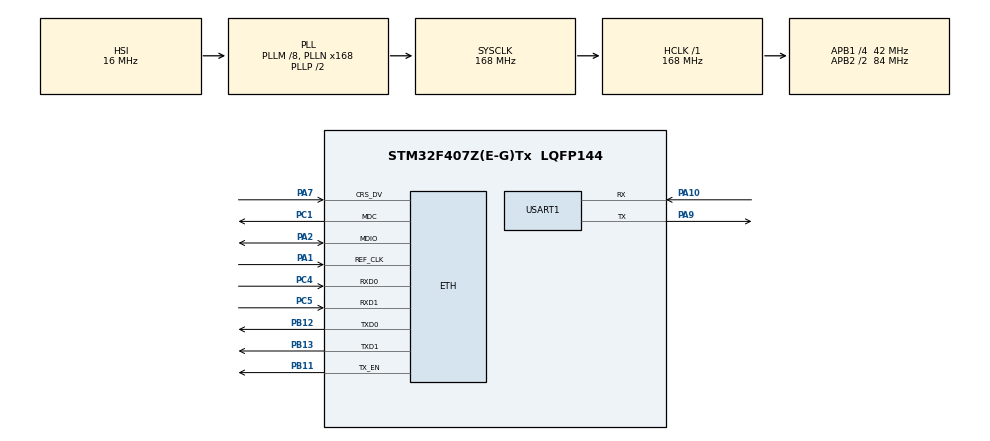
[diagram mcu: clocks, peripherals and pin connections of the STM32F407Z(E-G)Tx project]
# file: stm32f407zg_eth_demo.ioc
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ETH.MediaInterface=ETH_MEDIA_INTERFACE_RMII
ETH.PhyAddress=0
ETH.RxMode=ETH_RXPOLLING_MODE
LWIP.DHCP_DEBUG=LWIP_DBG_ON
LWIP.ETHARP_DEBUG=LWIP_DBG_ON
LWIP.LWIP_NETIF_HOSTNAME=1
LWIP.LWIP_NETIF_LINK_CALLBACK=1
LWIP.LWIP_NETIF_STATUS_CALLBACK=1
LWIP.NETIF_DEBUG=LWIP_DBG_ON
LWIP.Version=v2.0.3_Cube
Mcu.Family=STM32F4
Mcu.Name=STM32F407Z(E-G)Tx
Mcu.Package=LQFP144
NVIC.PriorityGroup=NVIC_PRIORITYGROUP_4
PA1.Mode=RMII
PA1.Signal=ETH_REF_CLK
PA10.Mode=Asynchronous
PA10.Signal=USART1_RX
PA13.Mode=Serial_Wire
PA13.Signal=SYS_JTMS-SWDIO
PA14.Mode=Serial_Wire
PA14.Signal=SYS_JTCK-SWCLK
PA2.Mode=RMII
PA2.Signal=ETH_MDIO
PA7.Mode=RMII
PA7.Signal=ETH_CRS_DV
PA9.Mode=Asynchronous
PA9.Signal=USART1_TX
PB11.Mode=RMII
PB11.Signal=ETH_TX_EN
PB12.Mode=RMII
PB12.Signal=ETH_TXD0
PB13.Mode=RMII
PB13.Signal=ETH_TXD1
PC1.Mode=RMII
PC1.Signal=ETH_MDC
PC4.Mode=RMII
PC4.Signal=ETH_RXD0
PC5.Mode=RMII
PC5.Signal=ETH_RXD1
PH0-OSC_IN.Mode=HSE-External-Oscillator
PH0-OSC_IN.Signal=RCC_OSC_IN
PH1-OSC_OUT.Mode=HSE-External-Oscillator
PH1-OSC_OUT.Signal=RCC_OSC_OUT
ProjectManager.HeapSize=0x200
ProjectManager.StackSize=0x400
ProjectManager.TargetToolchain=SW4STM32
RCC.48MHZClocksFreq_Value=84000000
RCC.AHBFreq_Value=168000000
RCC.APB1CLKDivider=RCC_HCLK_DIV4
RCC.APB1Freq_Value=42000000
RCC.APB1TimFreq_Value=84000000
RCC.APB2CLKDivider=RCC_HCLK_DIV2
RCC.APB2Freq_Value=84000000
RCC.APB2TimFreq_Value=168000000
RCC.CortexFreq_Value=168000000
RCC.HCLKFreq_Value=168000000
RCC.HSE_VALUE=25000000
RCC.HSI_VALUE=16000000
RCC.LSE_VALUE=32768
RCC.PLLM=8
RCC.PLLN=168
RCC.SYSCLKFreq_VALUE=168000000
RCC.SYSCLKSource=RCC_SYSCLKSOURCE_PLLCLK
RCC.VCOOutputFreq_Value=336000000
USART1.VirtualMode=VM_ASYNC
VP_LWIP_VS_Enabled.Mode=Enabled
board=custom

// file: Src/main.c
/* USER CODE BEGIN Header */
/**
 ******************************************************************************
 * @file           : main.c
 * @brief          : Main program body
 ******************************************************************************
 * @attention
 *
 * <h2><center>&copy; Copyright (c) 2020 STMicroelectronics.
 * All rights reserved.</center></h2>
 *
 * This software component is licensed by ST under Ultimate Liberty license
 * SLA0044, the "License"; You may not use this file except in compliance with
 * the License. You may obtain a copy of the License at:
 *                             www.st.com/SLA0044
 *
 ******************************************************************************
 */
/* USER CODE END Header */

#include "main.h"
#include "lwip.h"

/* USER CODE BEGIN Includes */
#include "ping_helper.h"
#include <string.h> /* memset() */
/* USER CODE END Includes */

UART_HandleTypeDef huart1;

void SystemClock_Config(void);
static void MX_GPIO_Init(void);
static void MX_USART1_UART_Init(void);
/* USER CODE BEGIN PFP */

/* overwrite putchar to write to USART1 */
int __io_putchar(int ch) {
	uint8_t asByte = (uint8_t) ch;
	HAL_UART_Transmit(&huart1, &asByte, 1, 1000UL);
	return ch;
}

/* USER CODE END PFP */

/* USER CODE BEGIN 0 */
void check_debug_info(void* arg) {
	/* check whether the PHY is correctly connected (at least REFCLK, MDIO, MDC)
	 * by receiving the PHY Identifier 1 and 2.
	 * for LAN8720:
	 * IDENT1: 0x0007
	 * IDENT2: 0xc0f<revision number, for me 1>
	 */
	printf("Ethernet own IP: %d.%d.%d.%d.\n", (int)ip4_addr1(&gnetif.ip_addr),
			(int)ip4_addr2(&gnetif.ip_addr), (int)ip4_addr3(&gnetif.ip_addr),
			(int)ip4_addr4(&gnetif.ip_addr));
	uint32_t phy_ident_1 = 0;
	uint32_t phy_ident_2 = 0;
	//try alternating phy address on every cycle (0 or 1)
	//heth.Init.PhyAddress ^= 0x1;
	printf("PHY Addr: %d\n", heth.Init.PhyAddress);
	if (HAL_ETH_ReadPHYRegister(&heth, 2, &phy_ident_1) == HAL_OK) {
		printf("PHY Ident 1: %08x\n", (unsigned) phy_ident_1);
		if (HAL_ETH_ReadPHYRegister(&heth, 3, &phy_ident_2) == HAL_OK) {
			printf("PHY Ident 2: %08x\n", (unsigned) phy_ident_2);
		} else {
			printf("Failed to read out PHY Identifier 2\n");
		}
	} else {
		printf("Failed to read out PHY Identifier 1\n");
	}

}

void start_ping_action() {
	//get gateway IP from global net interface
	ip_addr_t gw_addr = gnetif.gw;
	uint8_t gw_ip_part_1 = ip4_addr1(&gw_addr);
	//check if DHCP already succeeded by checking against non 0 ip part
	int ret = 0;
	if(gw_ip_part_1 != 0) {
		ip_addr_t target_ping_ip;
		//select target:
		//gateway
		//target_ping_ip = gw_addr;
		//static IPs
		//IP_ADDR4(&target_ping_ip, 192,168,1,180);
		IP_ADDR4(&target_ping_ip, 216,58,213,195); //google.com

		printf("Starting to ping IP: %d.%d.%d.%d.\n", (int)ip4_addr1(&target_ping_ip),
				(int)ip4_addr2(&target_ping_ip), (int)ip4_addr3(&target_ping_ip),
				(int)ip4_addr4(&target_ping_ip));
		if((ret = ping_ip(target_ping_ip)) != PING_ERR_OK) {
			printf("Error while sending ping: %d\n", ret);
		}
	}
	//every 4 seconds, start a new ping attempt
	sys_timeout(4000, start_ping_action, NULL);
}

void check_ping_result() {
	ping_result_t res;
	memset(&res, 0, sizeof(res));
	int retcode = 0;
	if((retcode = ping_ip_result(&res)) == PING_ERR_OK) {
        if (res.result_code == PING_RES_ECHO_REPLY) {
            printf("Good ping from %s %u ms\n", ipaddr_ntoa(&res.response_ip),
                    (unsigned) res.response_time_ms);
        } else {
            printf("Bad ping err %d\n", res.result_code);
        }
	} else {
		//printf("No ping result available yet: %d\n", retcode);
	}
	sys_timeout(100, check_ping_result, NULL);
}

/* USER CODE END 0 */

int main(void) {

	/* MCU Configuration--------------------------------------------------------*/

	/* Reset of all peripherals, Initializes the Flash interface and the Systick. */
	HAL_Init();

	/* Configure the system clock */
	SystemClock_Config();

	/* Initialize all configured peripherals */
	MX_GPIO_Init();
	MX_USART1_UART_Init();
	MX_LWIP_Init();
	/* USER CODE BEGIN 2 */
	/* register timer function every 1 second for debugging */
	//sys_timeout(1000, check_debug_info, NULL);
	sys_timeout(4000, start_ping_action, NULL);
	sys_timeout(100, check_ping_result, NULL);
	/* USER CODE END 2 */

	/* Infinite loop */
	while (1) {

		/* USER CODE BEGIN 3 */
		/* check ethernet data and feed into lwIP, if neccessary */
		MX_LWIP_Process();
	}
	/* USER CODE END 3 */
}

void SystemClock_Config(void) {
	RCC_OscInitTypeDef RCC_OscInitStruct = { 0 };
	RCC_ClkInitTypeDef RCC_ClkInitStruct = { 0 };

	/** Configure the main internal regulator output voltage
	 */
	__HAL_RCC_PWR_CLK_ENABLE()
	;
	__HAL_PWR_VOLTAGESCALING_CONFIG(PWR_REGULATOR_VOLTAGE_SCALE1);
	/** Initializes the CPU, AHB and APB busses clocks
	 */
	RCC_OscInitStruct.OscillatorType = RCC_OSCILLATORTYPE_HSI;
	RCC_OscInitStruct.HSIState = RCC_HSI_ON;
	RCC_OscInitStruct.HSICalibrationValue = RCC_HSICALIBRATION_DEFAULT;
	RCC_OscInitStruct.PLL.PLLState = RCC_PLL_ON;
	RCC_OscInitStruct.PLL.PLLSource = RCC_PLLSOURCE_HSI;
	RCC_OscInitStruct.PLL.PLLM = 8;
	RCC_OscInitStruct.PLL.PLLN = 168;
	RCC_OscInitStruct.PLL.PLLP = RCC_PLLP_DIV2;
	RCC_OscInitStruct.PLL.PLLQ = 4;
	if (HAL_RCC_OscConfig(&RCC_OscInitStruct) != HAL_OK) {
		Error_Handler();
	}
	/** Initializes the CPU, AHB and APB busses clocks
	 */
	RCC_ClkInitStruct.ClockType = RCC_CLOCKTYPE_HCLK | RCC_CLOCKTYPE_SYSCLK
			| RCC_CLOCKTYPE_PCLK1 | RCC_CLOCKTYPE_PCLK2;
	RCC_ClkInitStruct.SYSCLKSource = RCC_SYSCLKSOURCE_PLLCLK;
	RCC_ClkInitStruct.AHBCLKDivider = RCC_SYSCLK_DIV1;
	RCC_ClkInitStruct.APB1CLKDivider = RCC_HCLK_DIV4;
	RCC_ClkInitStruct.APB2CLKDivider = RCC_HCLK_DIV2;

	if (HAL_RCC_ClockConfig(&RCC_ClkInitStruct, FLASH_LATENCY_5) != HAL_OK) {
		Error_Handler();
	}
}

static void MX_USART1_UART_Init(void) {

	huart1.Instance = USART1;
	huart1.Init.BaudRate = 921600;
    //huart1.Init.BaudRate = 115200;
	huart1.Init.WordLength = UART_WORDLENGTH_8B;
	huart1.Init.StopBits = UART_STOPBITS_1;
	huart1.Init.Parity = UART_PARITY_NONE;
	huart1.Init.Mode = UART_MODE_TX_RX;
	huart1.Init.HwFlowCtl = UART_HWCONTROL_NONE;
	huart1.Init.OverSampling = UART_OVERSAMPLING_16;
	if (HAL_UART_Init(&huart1) != HAL_OK) {
		Error_Handler();
	}

}

static void MX_GPIO_Init(void) {
	/* GPIO Ports Clock Enable */
	__HAL_RCC_GPIOH_CLK_ENABLE();
	__HAL_RCC_GPIOC_CLK_ENABLE();
	__HAL_RCC_GPIOA_CLK_ENABLE();
	__HAL_RCC_GPIOB_CLK_ENABLE();
}

/* USER CODE BEGIN 4 */
/* general hexdump function, useful. */
void hexDump (const char * desc, const void * addr, const int len) {
    int i;
    unsigned char buff[17];
    const unsigned char * pc = (const unsigned char *)addr;

    // Output description if given.

    if (desc != NULL)
        printf ("%s:\n", desc);

    // Length checks.

    if (len == 0) {
        printf("  ZERO LENGTH\n");
        return;
    }
    else if (len < 0) {
        printf("  NEGATIVE LENGTH: %d\n", len);
        return;
    }

    // Process every byte in the data.

    for (i = 0; i < len; i++) {
        // Multiple of 16 means new line (with line offset).

        if ((i % 16) == 0) {
            // Don't print ASCII buffer for the "zeroth" line.

            if (i != 0)
                printf ("  %s\n", buff);

            // Output the offset.

            printf ("  %04x ", i);
        }

        // Now the hex code for the specific character.
        printf (" %02x", pc[i]);

        // And buffer a printable ASCII character for later.

        if ((pc[i] < 0x20) || (pc[i] > 0x7e)) // isprint() may be better.
            buff[i % 16] = '.';
        else
            buff[i % 16] = pc[i];
        buff[(i % 16) + 1] = '\0';
    }

    // Pad out last line if not exactly 16 characters.

    while ((i % 16) != 0) {
        printf ("   ");
        i++;
    }

    // And print the final ASCII buffer.

    printf ("  %s\n", buff);
}
/* USER CODE END 4 */

void Error_Handler(void) {
}

/************************ (C) COPYRIGHT STMicroelectronics *****END OF FILE****/
